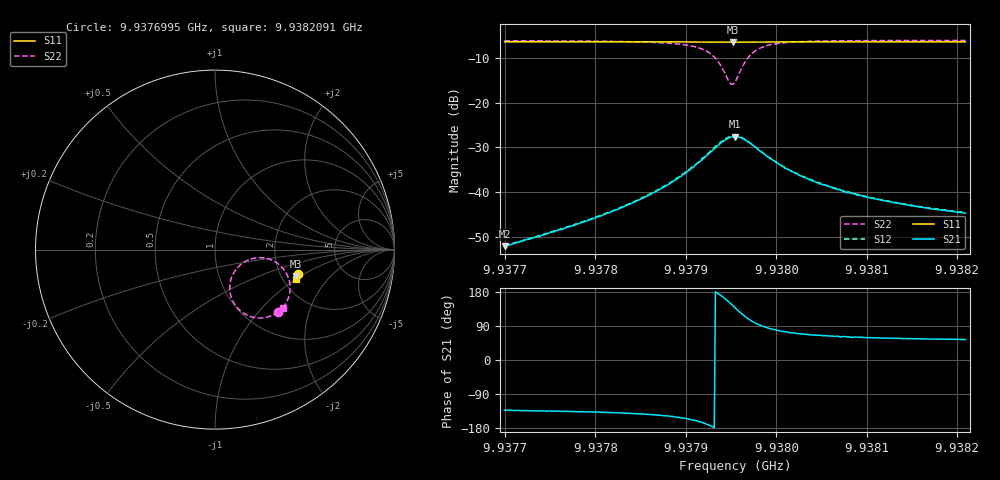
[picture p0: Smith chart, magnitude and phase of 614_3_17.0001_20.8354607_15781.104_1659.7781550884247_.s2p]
#  HZ  S  RI  R  50.00
! Rohde & Schwarz Vector Network Analyzer
! Rohde-Schwarz,ZNB20-2Port,1311601062101988,3.16
! Created: UTC 3/20/2024, 11:19:40 PM
! freq[Hz]  re:S11  im:S11  re:S21  im:S21  re:S12  im:S12  re:S22  im:S22
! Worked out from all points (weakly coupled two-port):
!   401 points, 9.9376995 GHz to 9.9382091 GHz, reference 50 ohm
!   highest |S21| = -27.57 dB at 9.9379543 GHz (marker M1); lowest = -52.1 dB at 9.9376995 GHz (marker M2)
!   lowest |S11| = -6.4 dB at 9.9379518 GHz (marker M3), VSWR 2.82, Z = 120 - j46.1 ohm
!   |S11| at or under -10 dB: nowhere
!   |S22| runs from -15.9 to -6.1 dB; largest |S21 - S12| = 0.0022
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9.93769955e9  0.4627 -0.1344  -0.00167 -0.00183  -0.00172 -0.0018  0.352 -0.3467
9.9377849e9  0.4604 -0.1403  -0.0033 -0.00316  -0.00342 -0.0031  0.3331 -0.3593
9.93782694e9  0.4592 -0.1432  -0.00498 -0.00424  -0.00514 -0.00423  0.3158 -0.3676
9.93787026e9  0.4578 -0.1463  -0.00874 -0.00596  -0.00902 -0.00597  0.2813 -0.378
9.93788809e9  0.457 -0.1477  -0.0119 -0.0067  -0.0122 -0.00674  0.2549 -0.3811
9.93790338e9  0.4561 -0.1489  -0.0158 -0.00709  -0.0163 -0.00714  0.2202 -0.3784
9.93792249e9  0.4547 -0.15  -0.0248 -0.00494  -0.0256 -0.00463  0.1509 -0.3486
9.93793268e9  0.4534 -0.1501  -0.0314 5.88e-06  -0.0324 0.000953  0.1048 -0.2973
9.93794032e9  0.4525 -0.1499  -0.0356 0.00781  -0.0363 0.00905  0.0827 -0.2286
9.93794797e9  0.4521 -0.1491  -0.0359 0.0189  -0.036 0.0205  0.0987 -0.1399
9.93795179e9  0.4521 -0.1487  -0.0336 0.0245  -0.0334 0.0262  0.1271 -0.0986
9.93795434e9  0.4522 -0.1484  -0.0312 0.0278  -0.0306 0.0297  0.1528 -0.076
9.93796071e9  0.4529 -0.1478  -0.0228 0.0336  -0.0219 0.0349  0.2283 -0.0464
9.93796835e9  0.454 -0.1479  -0.0125 0.0346  -0.0113 0.0355  0.3108 -0.0563
9.93797472e9  0.4546 -0.1485  -0.00586 0.0325  -0.00494 0.0329  0.358 -0.0841
9.93798109e9  0.455 -0.1489  -0.00133 0.0293  -0.000536 0.0296  0.3871 -0.1155
9.93799128e9  0.4553 -0.1502  0.00255 0.0244  0.00317 0.0245  0.4098 -0.1602
9.9380053e9  0.4554 -0.1517  0.0047 0.0193  0.00531 0.0193  0.4184 -0.2049
9.93803969e9  0.4547 -0.1546  0.00539 0.0122  0.00574 0.0124  0.4112 -0.2617
9.93807664e9  0.4536 -0.1575  0.0048 0.00877  0.00498 0.00882  0.4003 -0.2897
9.93812505e9  0.4524 -0.161  0.00419 0.00661  0.00434 0.00656  0.3893 -0.3086
9.93820913e9  0.4501 -0.1665  0.00341 0.00467  0.00354 0.00472  0.3761 -0.3261
